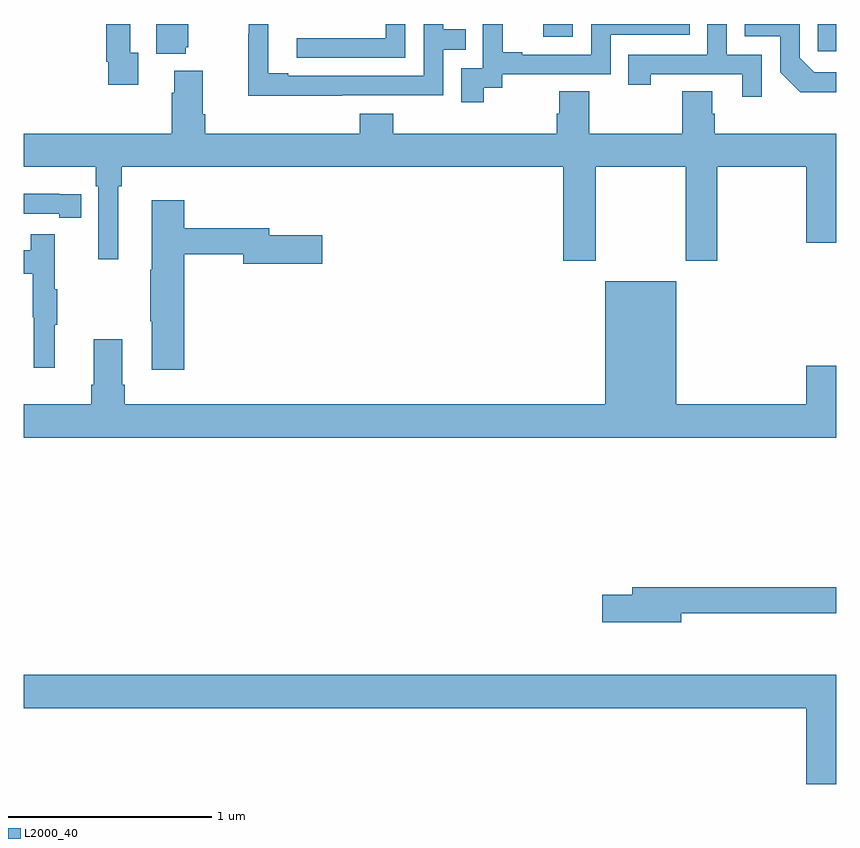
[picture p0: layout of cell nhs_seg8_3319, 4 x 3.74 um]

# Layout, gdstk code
import gdstk
lib = gdstk.Library(unit=1e-6, precision=1e-09)
def R(c, l, rs):  # rectangles x0, y0, x1, y1
    for r in rs: c.add(gdstk.rectangle(r[:2], r[2:], *l))
def P(c, l, *ps):  # polygons
    for p in ps: c.add(gdstk.Polygon(p, *l))
L2000_40 = (2000, 40)

nhs_seg8_3319 = lib.new_cell('nhs_seg8_3319')
R(nhs_seg8_3319, L2000_40, [(320.91,1087.767,321,1087.9), (319.557,1087.836,319.704,1087.9)])
P(nhs_seg8_3319, L2000_40, [(318.879,1087.9),(318.783,1087.9),(318.783,1087.83),(318.345,1087.83),(318.345,1087.734),(318.879,1087.734)],
  [(319.264,1087.585),(319.356,1087.585),(319.356,1087.653),(319.89,1087.653),(319.89,1087.848),(320.279,1087.848),(320.279,1087.9),(319.794,1087.9),(319.794,1087.749),(319.453,1087.749),(319.453,1087.762),(319.358,1087.762),(319.358,1087.9),(319.26,1087.9),(319.26,1087.683),(319.155,1087.683),(319.155,1087.515),(319.264,1087.515)],
  [(320.634,1087.749),(320.46,1087.749),(320.46,1087.9),(320.364,1087.9),(320.364,1087.749),(319.975,1087.749),(319.975,1087.602),(320.086,1087.602),(320.086,1087.653),(320.537,1087.653),(320.537,1087.542),(320.634,1087.542)],
  [(321,1087.662),(320.892,1087.662),(320.82,1087.734),(320.82,1087.9),(320.55,1087.9),(320.55,1087.839),(320.724,1087.839),(320.724,1087.662),(320.822,1087.565),(321,1087.565)],
  [(317.563,1087.758),(317.523,1087.758),(317.523,1087.9),(317.407,1087.9),(317.407,1087.714),(317.415,1087.714),(317.415,1087.602),(317.563,1087.602)],
  [(318.569,1087.548),(319.065,1087.548),(319.065,1087.773),(319.175,1087.773),(319.175,1087.874),(319.065,1087.874),(319.065,1087.9),(318.969,1087.9),(318.969,1087.644),(318.301,1087.644),(318.301,1087.657),(318.204,1087.657),(318.204,1087.9),(318.108,1087.9),(318.108,1087.853),(318.106,1087.853),(318.106,1087.547),(318.569,1087.547)],
  [(317.798,1087.785),(317.809,1087.785),(317.809,1087.9),(317.651,1087.9),(317.651,1087.754),(317.798,1087.754)],
  [(319.815,1087.196),(320.26,1087.196),(320.26,1086.735),(320.415,1086.735),(320.415,1087.196),(320.852,1087.196),(320.852,1086.822),(321,1086.822),(321,1087.36),(320.402,1087.36),(320.402,1087.458),(320.389,1087.458),(320.389,1087.568),(320.242,1087.568),(320.242,1087.36),(319.785,1087.36),(319.785,1087.568),(319.637,1087.568),(319.637,1087.458),(319.625,1087.458),(319.625,1087.36),(318.818,1087.36),(318.818,1087.459),(318.653,1087.459),(318.653,1087.36),(317.894,1087.36),(317.894,1087.456),(317.881,1087.456),(317.881,1087.669),(317.741,1087.669),(317.741,1087.562),(317.729,1087.562),(317.729,1087.36),(317,1087.36),(317,1087.196),(317.354,1087.196),(317.354,1087.1),(317.367,1087.1),(317.367,1086.741),(317.464,1086.741),(317.464,1087.1),(317.483,1087.1),(317.483,1087.196),(319.655,1087.196),(319.655,1086.735),(319.815,1086.735)],
  [(317.282,1087.062),(317.174,1087.062),(317.174,1087.063),(317,1087.063),(317,1086.966),(317.174,1086.966),(317.174,1086.946),(317.282,1086.946)],
  [(317.789,1086.766),(318.08,1086.766),(318.08,1086.719),(318.469,1086.719),(318.469,1086.861),(318.208,1086.861),(318.208,1086.895),(317.789,1086.895),(317.789,1087.033),(317.63,1087.033),(317.63,1086.689),(317.623,1086.689),(317.623,1086.436),(317.63,1086.436),(317.63,1086.198),(317.789,1086.198)],
  [(317.153,1086.419),(317.164,1086.419),(317.164,1086.593),(317.153,1086.593),(317.153,1086.865),(317.035,1086.865),(317.035,1086.786),(317,1086.786),(317,1086.67),(317.043,1086.67),(317.043,1086.456),(317.05,1086.456),(317.05,1086.207),(317.153,1086.207)],
  [(321,1086.217),(320.852,1086.217),(320.852,1086.028),(320.212,1086.028),(320.212,1086.634),(319.862,1086.634),(319.862,1086.028),(317.498,1086.028),(317.498,1086.124),(317.485,1086.124),(317.485,1086.349),(317.345,1086.349),(317.345,1086.124),(317.333,1086.124),(317.333,1086.028),(317,1086.028),(317,1085.864),(321,1085.864)],
  [(320.236,1084.998),(321,1084.998),(321,1085.126),(319.997,1085.126),(319.997,1085.09),(319.848,1085.09),(319.848,1084.955),(320.236,1084.955)],
  [(321,1084.696),(317,1084.696),(317,1084.532),(320.852,1084.532),(320.852,1084.158),(321,1084.158)])

lib.write_gds('nhs_seg8_3319.gds')
